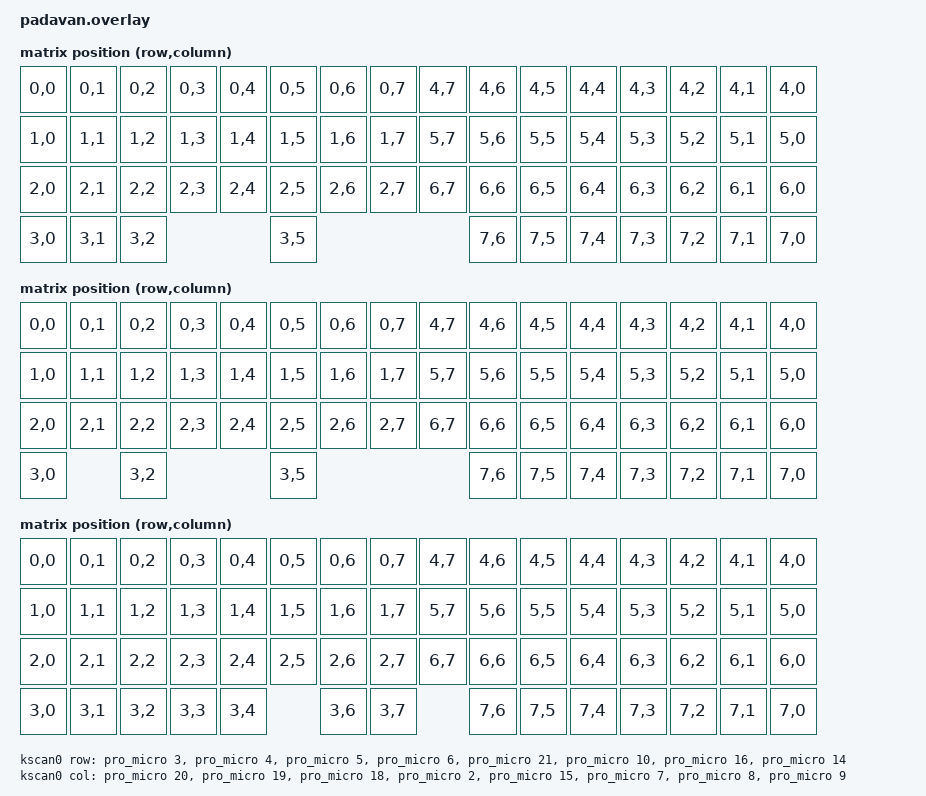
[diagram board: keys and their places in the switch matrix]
#include <dt-bindings/zmk/matrix_transform.h>

/ {
    chosen {
        zmk,kscan = &kscan0;
        zmk,matrix_transform = &default_transform; // Change this line to the layout you want to use!
    };

    default_transform: keymap_transform_0 {
        compatible = "zmk,matrix-transform";
        columns = <8>;
        rows = <8>;
        map = <
            RC(0,0) RC(0,1) RC(0,2) RC(0,3) RC(0,4) RC(0,5) RC(0,6) RC(0,7) RC(4,7) RC(4,6) RC(4,5) RC(4,4) RC(4,3) RC(4,2) RC(4,1) RC(4,0)
            RC(1,0) RC(1,1) RC(1,2) RC(1,3) RC(1,4) RC(1,5) RC(1,6) RC(1,7) RC(5,7) RC(5,6) RC(5,5) RC(5,4) RC(5,3) RC(5,2) RC(5,1) RC(5,0)
            RC(2,0) RC(2,1) RC(2,2) RC(2,3) RC(2,4) RC(2,5) RC(2,6) RC(2,7) RC(6,7) RC(6,6) RC(6,5) RC(6,4) RC(6,3) RC(6,2) RC(6,1) RC(6,0)
            RC(3,0) RC(3,1) RC(3,2)                 RC(3,5)                         RC(7,6) RC(7,5) RC(7,4) RC(7,3) RC(7,2) RC(7,1) RC(7,0)
        >;
    };
//         | SW01  | SW02  | SW03  | SW04  | SW05  | SW06  | SW07  | SW08  | SW09  | SW10  | SW11  | SW12  | SW13  | SW14  | SW15  | SW16  |
//         | SW17  | SW18  | SW19  | SW20  | SW21  | SW22  | SW23  | SW24  | SW25  | SW26  | SW27  | SW28  | SW29  | SW30  | SW31  | SW32  |
//         | SW33  | SW34  | SW35  | SW36  | SW37  | SW38  | SW39  | SW40  | SW41  | SW42  | SW43  | SW44  | SW45  | SW46  | SW47  | SW48  |
//         | SW49  | SW50  | SW51  |                 SW52                          | SW53  | SW54  | SW55  | SW56  | SW57  | SW58  | SW59  |

// begin: alternative layouts
    alt_bottom_big_bar_transform: keymap_transform_1 {
        compatible = "zmk,matrix-transform";
        columns = <8>;
        rows = <8>;
        map = <
            RC(0,0) RC(0,1) RC(0,2) RC(0,3) RC(0,4) RC(0,5) RC(0,6) RC(0,7) RC(4,7) RC(4,6) RC(4,5) RC(4,4) RC(4,3) RC(4,2) RC(4,1) RC(4,0)
            RC(1,0) RC(1,1) RC(1,2) RC(1,3) RC(1,4) RC(1,5) RC(1,6) RC(1,7) RC(5,7) RC(5,6) RC(5,5) RC(5,4) RC(5,3) RC(5,2) RC(5,1) RC(5,0)
            RC(2,0) RC(2,1) RC(2,2) RC(2,3) RC(2,4) RC(2,5) RC(2,6) RC(2,7) RC(6,7) RC(6,6) RC(6,5) RC(6,4) RC(6,3) RC(6,2) RC(6,1) RC(6,0)
            RC(3,0)         RC(3,2)                 RC(3,5)                         RC(7,6) RC(7,5) RC(7,4) RC(7,3) RC(7,2) RC(7,1) RC(7,0)
        >;
    };

    split_bar_transform: keymap_transform_2 {
        compatible = "zmk,matrix-transform";
        columns = <8>;
        rows = <8>;
        map = <
            RC(0,0) RC(0,1) RC(0,2) RC(0,3) RC(0,4) RC(0,5) RC(0,6) RC(0,7) RC(4,7) RC(4,6) RC(4,5) RC(4,4) RC(4,3) RC(4,2) RC(4,1) RC(4,0)
            RC(1,0) RC(1,1) RC(1,2) RC(1,3) RC(1,4) RC(1,5) RC(1,6) RC(1,7) RC(5,7) RC(5,6) RC(5,5) RC(5,4) RC(5,3) RC(5,2) RC(5,1) RC(5,0)
            RC(2,0) RC(2,1) RC(2,2) RC(2,3) RC(2,4) RC(2,5) RC(2,6) RC(2,7) RC(6,7) RC(6,6) RC(6,5) RC(6,4) RC(6,3) RC(6,2) RC(6,1) RC(6,0)
            RC(3,0) RC(3,1) RC(3,2) RC(3,3) RC(3,4)         RC(3,6) RC(3,7)         RC(7,6) RC(7,5) RC(7,4) RC(7,3) RC(7,2) RC(7,1) RC(7,0)
        >;
    };

    alt_bottom_split_bar_transform: keymap_transform_3 {
        compatible = "zmk,matrix-transform";
        columns = <8>;
        rows = <8>;
        map = <
            RC(0,0) RC(0,1) RC(0,2) RC(0,3) RC(0,4) RC(0,5) RC(0,6) RC(0,7) RC(4,7) RC(4,6) RC(4,5) RC(4,4) RC(4,3) RC(4,2) RC(4,1) RC(4,0)
            RC(1,0) RC(1,1) RC(1,2) RC(1,3) RC(1,4) RC(1,5) RC(1,6) RC(1,7) RC(5,7) RC(5,6) RC(5,5) RC(5,4) RC(5,3) RC(5,2) RC(5,1) RC(5,0)
            RC(2,0) RC(2,1) RC(2,2) RC(2,3) RC(2,4) RC(2,5) RC(2,6) RC(2,7) RC(6,7) RC(6,6) RC(6,5) RC(6,4) RC(6,3) RC(6,2) RC(6,1) RC(6,0)
            RC(3,0)         RC(3,2) RC(3,3) RC(3,4)         RC(3,6) RC(3,7)         RC(7,6) RC(7,5) RC(7,4) RC(7,3) RC(7,2) RC(7,1) RC(7,0)
        >;
    };

    everything_transform: keymap_transform_4 {
        compatible = "zmk,matrix-transform";
        columns = <8>;
        rows = <8>;
        map = <
            RC(0,0) RC(0,1) RC(0,2) RC(0,3) RC(0,4) RC(0,5) RC(0,6) RC(0,7) RC(4,7) RC(4,6) RC(4,5) RC(4,4) RC(4,3) RC(4,2) RC(4,1) RC(4,0)
            RC(1,0) RC(1,1) RC(1,2) RC(1,3) RC(1,4) RC(1,5) RC(1,6) RC(1,7) RC(5,7) RC(5,6) RC(5,5) RC(5,4) RC(5,3) RC(5,2) RC(5,1) RC(5,0)
            RC(2,0) RC(2,1) RC(2,2) RC(2,3) RC(2,4) RC(2,5) RC(2,6) RC(2,7) RC(6,7) RC(6,6) RC(6,5) RC(6,4) RC(6,3) RC(6,2) RC(6,1) RC(6,0)
            RC(3,0) RC(3,1) RC(3,2) RC(3,3) RC(3,4) RC(3,5) RC(3,6) RC(3,7)         RC(7,6) RC(7,5) RC(7,4) RC(7,3) RC(7,2) RC(7,1) RC(7,0)
        >;
    };
// end: alternative layouts


    kscan0: kscan_0 {
        compatible = "zmk,kscan-gpio-matrix";
        label = "KSCAN";
        diode-direction = "col2row";

        col-gpios
            = <&pro_micro 20 GPIO_ACTIVE_HIGH>
            , <&pro_micro 19 GPIO_ACTIVE_HIGH>
            , <&pro_micro 18 GPIO_ACTIVE_HIGH>
            , <&pro_micro 2 GPIO_ACTIVE_HIGH>
            , <&pro_micro 15 GPIO_ACTIVE_HIGH>
            , <&pro_micro 7 GPIO_ACTIVE_HIGH>
            , <&pro_micro 8 GPIO_ACTIVE_HIGH>
            , <&pro_micro 9 GPIO_ACTIVE_HIGH>
            ;

        row-gpios
            = <&pro_micro 3 (GPIO_ACTIVE_HIGH | GPIO_PULL_DOWN)>
            , <&pro_micro 4 (GPIO_ACTIVE_HIGH | GPIO_PULL_DOWN)>
            , <&pro_micro 5 (GPIO_ACTIVE_HIGH | GPIO_PULL_DOWN)>
            , <&pro_micro 6 (GPIO_ACTIVE_HIGH | GPIO_PULL_DOWN)>
            , <&pro_micro 21 (GPIO_ACTIVE_HIGH | GPIO_PULL_DOWN)>
            , <&pro_micro 10 (GPIO_ACTIVE_HIGH | GPIO_PULL_DOWN)>
            , <&pro_micro 16 (GPIO_ACTIVE_HIGH | GPIO_PULL_DOWN)>
            , <&pro_micro 14 (GPIO_ACTIVE_HIGH | GPIO_PULL_DOWN)>
            ;
    };
};
